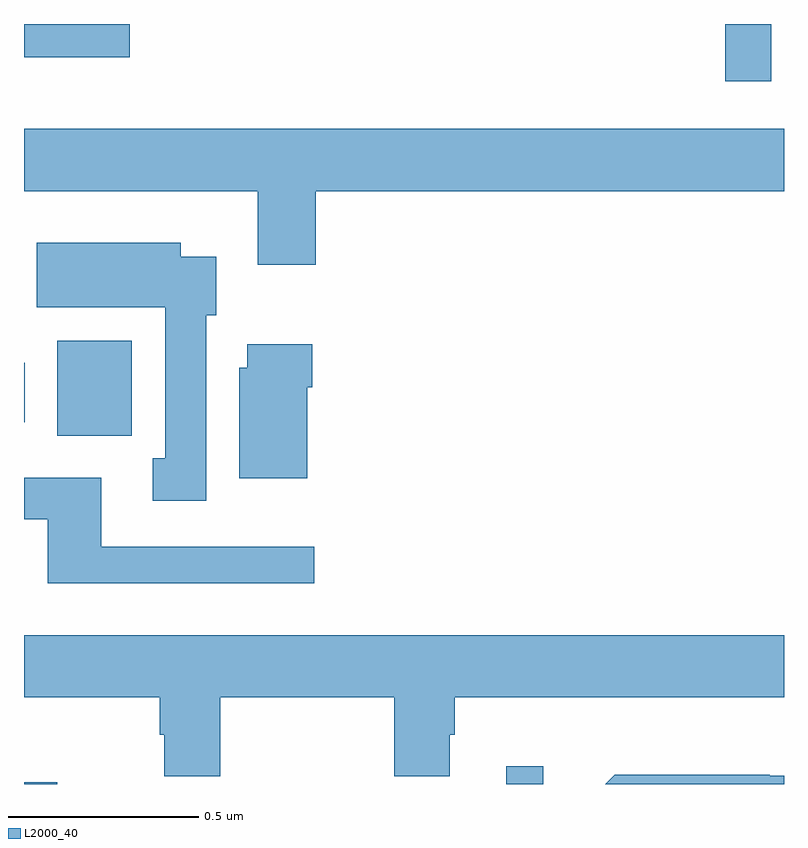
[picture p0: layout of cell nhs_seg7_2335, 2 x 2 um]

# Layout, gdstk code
import gdstk
lib = gdstk.Library(unit=1e-6, precision=1e-09)
def R(c, l, rs):  # rectangles x0, y0, x1, y1
    for r in rs: c.add(gdstk.rectangle(r[:2], r[2:], *l))
def P(c, l, *ps):  # polygons
    for p in ps: c.add(gdstk.Polygon(p, *l))
L2000_40 = (2000, 40)

nhs_seg7_2335 = lib.new_cell('nhs_seg7_2335')
R(nhs_seg7_2335, L2000_40, [(143,1055,143.088,1055.004), (144.269,1055,144.366,1055.047), (143.087,1055.916,143.283,1056.166), (143,1055.952,143.002,1056.108), (144.846,1056.849,144.967,1057), (143,1056.912,143.278,1057)])
P(nhs_seg7_2335, L2000_40, [(143.768,1056.56),(145,1056.56),(145,1056.724),(143,1056.724),(143,1056.56),(143.615,1056.56),(143.615,1056.366),(143.768,1056.366)],
  [(143.479,1056.234),(143.506,1056.234),(143.506,1056.388),(143.413,1056.388),(143.413,1056.424),(143.033,1056.424),(143.033,1056.254),(143.372,1056.254),(143.372,1055.857),(143.339,1055.857),(143.339,1055.745),(143.479,1055.745)],
  [(143.746,1056.044),(143.759,1056.044),(143.759,1056.157),(143.588,1056.157),(143.588,1056.096),(143.567,1056.096),(143.567,1055.804),(143.746,1055.804)],
  [(143.764,1055.625),(143.203,1055.625),(143.203,1055.806),(143,1055.806),(143,1055.697),(143.063,1055.697),(143.063,1055.528),(143.764,1055.528)],
  [(143.517,1055.228),(143.974,1055.228),(143.974,1055.02),(144.121,1055.02),(144.121,1055.13),(144.134,1055.13),(144.134,1055.228),(145,1055.228),(145,1055.392),(143,1055.392),(143,1055.228),(143.357,1055.228),(143.357,1055.13),(143.369,1055.13),(143.369,1055.02),(143.517,1055.02)],
  [(145,1055.022),(144.962,1055.022),(144.962,1055.024),(144.554,1055.024),(144.53,1055),(145,1055)])

lib.write_gds('nhs_seg7_2335.gds')
